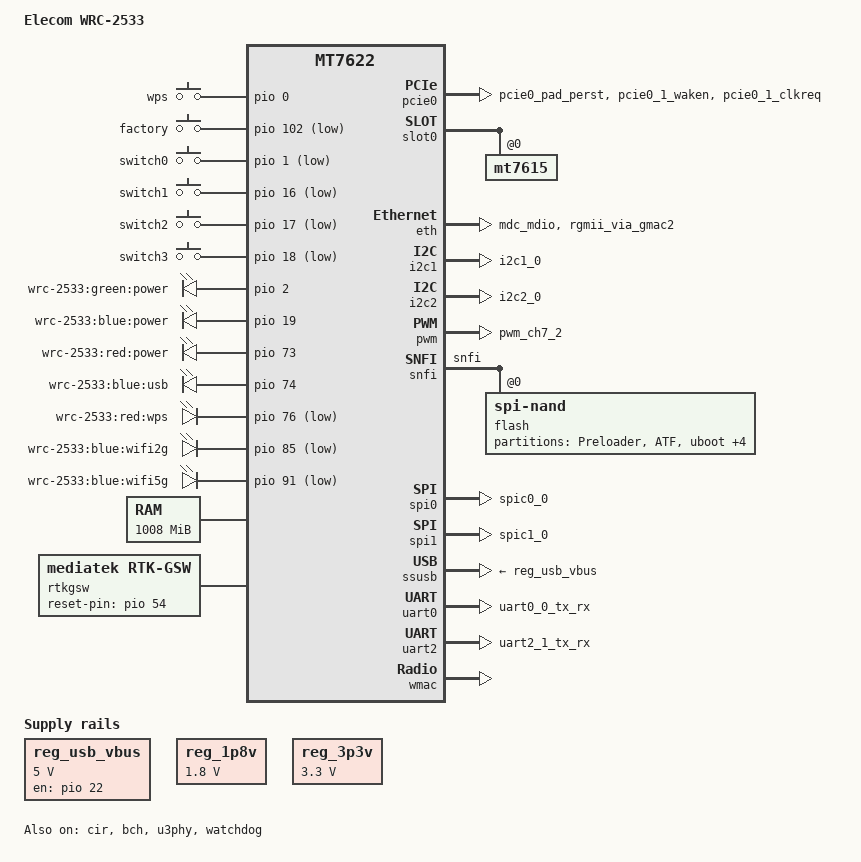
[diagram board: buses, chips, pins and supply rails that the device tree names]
// SPDX-License-Identifier: (GPL-2.0-only OR MIT)
/*
 * Copyright (c) 2017 MediaTek Inc.
 * Author: Ming Huang <ming.huang@mediatek.com>
 *	   Sean Wang <sean.wang@mediatek.com>
 */

/dts-v1/;
#include <dt-bindings/input/input.h>
#include <dt-bindings/gpio/gpio.h>

#include "mt7622.dtsi"
#include "mt6380.dtsi"

/ {
	model = "Elecom WRC-2533";
	compatible = "elecom,wrc-2533gent", "mediatek,mt7622";

	aliases {
		led-boot = &led_power;
		led-failsafe = &led_power;
		led-running = &led_power;
		led-upgrade = &led_power;
		serial0 = &uart0;
	};

	chosen {
		stdout-path = "serial0:115200n8";
		bootargs = "earlycon=uart8250,mmio32,0x11002000 swiotlb=512 console=ttyS0,115200n8";
	};

	cpus {
		cpu@0 {
			proc-supply = <&mt6380_vcpu_reg>;
			sram-supply = <&mt6380_vm_reg>;
		};

		cpu@1 {
			proc-supply = <&mt6380_vcpu_reg>;
			sram-supply = <&mt6380_vm_reg>;
		};
	};

	gpio-keys {
		compatible = "gpio-keys";
		poll-interval = <100>;

		wps {
			label = "wps";
			linux,code = <KEY_WPS_BUTTON>;
			gpios = <&pio 0 GPIO_ACTIVE_HIGH>;
		};

		factory {
			label = "factory";
			linux,code = <KEY_WPS_BUTTON>;
			gpios = <&pio 102 GPIO_ACTIVE_LOW>;
		};

		switch0 {
			label = "switch0";
			gpios = <&pio 1 GPIO_ACTIVE_LOW>;
			linux,code = <BTN_0>;
			linux,input-type = <EV_SW>;
		};

		switch1 {
			label = "switch1";
			gpios = <&pio 16 GPIO_ACTIVE_LOW>;
			linux,code = <BTN_1>;
			linux,input-type = <EV_SW>;
		};

		switch2 {
			label = "switch2";
			gpios = <&pio 17 GPIO_ACTIVE_LOW>;
			linux,code = <BTN_2>;
			linux,input-type = <EV_SW>;
		};

		switch3 {
			label = "switch3";
			gpios = <&pio 18 GPIO_ACTIVE_LOW>;
			linux,code = <BTN_3>;
			linux,input-type = <EV_SW>;
		};
	};

	leds {
		compatible = "gpio-leds";

		led_power: power_g {
			label = "wrc-2533:green:power";
			gpios = <&pio 2 GPIO_ACTIVE_HIGH>;
		};

		power_b {
			label = "wrc-2533:blue:power";
			gpios = <&pio 19 GPIO_ACTIVE_HIGH>;
		};

		power_r {
			label = "wrc-2533:red:power";
			gpios = <&pio 73 GPIO_ACTIVE_HIGH>;
		};

		usb {
			label = "wrc-2533:blue:usb";
			gpios = <&pio 74 GPIO_ACTIVE_HIGH>;
		};

		wps {
			label = "wrc-2533:red:wps";
			gpios = <&pio 76 GPIO_ACTIVE_LOW>;
		};

		wifi2 {
			label = "wrc-2533:blue:wifi2g";
			gpios = <&pio 85 GPIO_ACTIVE_LOW>;
		};

		wifi5 {
			label = "wrc-2533:blue:wifi5g";
			gpios = <&pio 91 GPIO_ACTIVE_LOW>;
		};
	};

	reg_usb_vbus: regulator {
		compatible = "regulator-fixed";
		regulator-name = "usb_vbus";
		regulator-min-microvolt = <5000000>;
		regulator-max-microvolt = <5000000>;
		gpio = <&pio 22 GPIO_ACTIVE_LOW>;
		enable-active-high;
	};

	memory {
		reg = <0 0x40000000 0 0x3F000000>;
	};

	reg_1p8v: regulator-1p8v {
		compatible = "regulator-fixed";
		regulator-name = "fixed-1.8V";
		regulator-min-microvolt = <1800000>;
		regulator-max-microvolt = <1800000>;
		regulator-always-on;
	};

	reg_3p3v: regulator-3p3v {
		compatible = "regulator-fixed";
		regulator-name = "fixed-3.3V";
		regulator-min-microvolt = <3300000>;
		regulator-max-microvolt = <3300000>;
		regulator-boot-on;
		regulator-always-on;
	};

	rtkgsw: rtkgsw@0 {
		compatible = "mediatek,rtk-gsw";
		mediatek,ethsys = <&ethsys>;
		mediatek,mdio = <&mdio>;
		mediatek,reset-pin = <&pio 54 0>;
		status = "okay";
	};
};

&pcie0 {
	pinctrl-names = "default";
	pinctrl-0 = <&pcie0_pins>;
	status = "okay";
};

&slot0 {
	mt7615@0,0 {
		reg = <0x0000 0 0 0 0>;
		mediatek,mtd-eeprom = <&factory 0x05000>;
	};
};

&pio {
	/* eMMC is shared pin with parallel NAND */
	emmc_pins_default: emmc-pins-default {
		mux {
			function = "emmc", "emmc_rst";
			groups = "emmc";
		};

		/* "NDL0","NDL1","NDL2","NDL3","NDL4","NDL5","NDL6","NDL7",
		 * "NRB","NCLE" pins are used as DAT0,DAT1,DAT2,DAT3,DAT4,
		 * DAT5,DAT6,DAT7,CMD,CLK for eMMC respectively
		 */
		conf-cmd-dat {
			pins = "NDL0", "NDL1", "NDL2",
			       "NDL3", "NDL4", "NDL5",
			       "NDL6", "NDL7", "NRB";
			input-enable;
			bias-pull-up;
		};

		conf-clk {
			pins = "NCLE";
			bias-pull-down;
		};
	};

	emmc_pins_uhs: emmc-pins-uhs {
		mux {
			function = "emmc";
			groups = "emmc";
		};

		conf-cmd-dat {
			pins = "NDL0", "NDL1", "NDL2",
			       "NDL3", "NDL4", "NDL5",
			       "NDL6", "NDL7", "NRB";
			input-enable;
			drive-strength = <4>;
			bias-pull-up;
		};

		conf-clk {
			pins = "NCLE";
			drive-strength = <4>;
			bias-pull-down;
		};
	};

	eth_pins: eth-pins {
		mux {
			function = "eth";
			groups = "mdc_mdio", "rgmii_via_gmac2";
		};
	};

	i2c1_pins: i2c1-pins {
		mux {
			function = "i2c";
			groups =  "i2c1_0";
		};
	};

	i2c2_pins: i2c2-pins {
		mux {
			function = "i2c";
			groups =  "i2c2_0";
		};
	};

	i2s1_pins: i2s1-pins {
		mux {
			function = "i2s";
			groups =  "i2s_out_mclk_bclk_ws",
				  "i2s1_in_data",
				  "i2s1_out_data";
		};

		conf {
			pins = "I2S1_IN", "I2S1_OUT", "I2S_BCLK",
			       "I2S_WS", "I2S_MCLK";
			drive-strength = <12>;
			bias-pull-down;
		};
	};

	irrx_pins: irrx-pins {
		mux {
			function = "ir";
			groups =  "ir_1_rx";
		};
	};

	irtx_pins: irtx-pins {
		mux {
			function = "ir";
			groups =  "ir_1_tx";
		};
	};

	/* Parallel nand is shared pin with eMMC */
	parallel_nand_pins: parallel-nand-pins {
		mux {
			function = "flash";
			groups = "par_nand";
		};
	};

	pcie0_pins: pcie0-pins {
		mux {
			function = "pcie";
			groups = "pcie0_pad_perst",
				 "pcie0_1_waken",
				 "pcie0_1_clkreq";
		};
	};

	pcie1_pins: pcie1-pins {
		mux {
			function = "pcie";
			groups = "pcie1_pad_perst",
				 "pcie1_0_waken",
				 "pcie1_0_clkreq";
		};
	};

	pmic_bus_pins: pmic-bus-pins {
		mux {
			function = "pmic";
			groups = "pmic_bus";
		};
	};

	pwm7_pins: pwm1-2-pins {
		mux {
			function = "pwm";
			groups = "pwm_ch7_2";
		};
	};

	wled_pins: wled-pins {
		mux {
			function = "led";
			groups = "wled";
		};
	};

	sd0_pins_default: sd0-pins-default {
		mux {
			function = "sd";
			groups = "sd_0";
		};

		/* "I2S2_OUT, "I2S4_IN"", "I2S3_IN", "I2S2_IN",
		 *  "I2S4_OUT", "I2S3_OUT" are used as DAT0, DAT1,
		 *  DAT2, DAT3, CMD, CLK for SD respectively.
		 */
		conf-cmd-data {
			pins = "I2S2_OUT", "I2S4_IN", "I2S3_IN",
			       "I2S2_IN","I2S4_OUT";
			input-enable;
			drive-strength = <8>;
			bias-pull-up;
		};
		conf-clk {
			pins = "I2S3_OUT";
			drive-strength = <12>;
			bias-pull-down;
		};
		conf-cd {
			pins = "TXD3";
			bias-pull-up;
		};
	};

	sd0_pins_uhs: sd0-pins-uhs {
		mux {
			function = "sd";
			groups = "sd_0";
		};

		conf-cmd-data {
			pins = "I2S2_OUT", "I2S4_IN", "I2S3_IN",
			       "I2S2_IN","I2S4_OUT";
			input-enable;
			bias-pull-up;
		};

		conf-clk {
			pins = "I2S3_OUT";
			bias-pull-down;
		};
	};

	/* Serial NAND is shared pin with SPI-NOR */
	serial_nand_pins: serial-nand-pins {
		mux {
			function = "flash";
			groups = "snfi";
		};
	};

	spic0_pins: spic0-pins {
		mux {
			function = "spi";
			groups = "spic0_0";
		};
	};

	spic1_pins: spic1-pins {
		mux {
			function = "spi";
			groups = "spic1_0";
		};
	};

	/* SPI-NOR is shared pin with serial NAND */
	spi_nor_pins: spi-nor-pins {
		mux {
			function = "flash";
			groups = "spi_nor";
		};
	};

	/* serial NAND is shared pin with SPI-NOR */
	serial_nand_pins: serial-nand-pins {
		mux {
			function = "flash";
			groups = "snfi";
		};
	};

	uart0_pins: uart0-pins {
		mux {
			function = "uart";
			groups = "uart0_0_tx_rx" ;
		};
	};

	uart2_pins: uart2-pins {
		mux {
			function = "uart";
			groups = "uart2_1_tx_rx" ;
		};
	};

	watchdog_pins: watchdog-pins {
		mux {
			function = "watchdog";
			groups = "watchdog";
		};
	};
};

&btif {
	status = "disabled";
};

&cir {
	pinctrl-names = "default";
	pinctrl-0 = <&irrx_pins>;
	status = "okay";
};

&eth {
	status = "okay";
	pinctrl-names = "default";
	pinctrl-0 = <&eth_pins>;
	gmac0: mac@0 {
		compatible = "mediatek,eth-mac";
		reg = <0>;
		phy-mode = "sgmii";
		fixed-link {
			speed = <1000>;
			full-duplex;
			pause;
		};
	};

	gmac1: mac@1 {
		compatible = "mediatek,eth-mac";
		reg = <1>;
		phy-mode = "rgmii";
		fixed-link {
			speed = <1000>;
			full-duplex;
			pause;
		};
	};

	mdio: mdio-bus {
		#address-cells = <1>;
		#size-cells = <0>;
	};
};

&i2c1 {
	pinctrl-names = "default";
	pinctrl-0 = <&i2c1_pins>;
	status = "okay";
};

&i2c2 {
	pinctrl-names = "default";
	pinctrl-0 = <&i2c2_pins>;
	status = "okay";
};

&pwm {
	pinctrl-names = "default";
	pinctrl-0 = <&pwm7_pins>;
	status = "okay";
};

&pwrap {
	pinctrl-names = "default";
	pinctrl-0 = <&pmic_bus_pins>;

	status = "okay";
};

&bch {
	status = "okay";
};

&snfi {
	pinctrl-names = "default";
	pinctrl-0 = <&serial_nand_pins>;
	status = "okay";
	flash@0 {
		compatible = "spi-nand";
		reg = <0>;
		spi-tx-bus-width = <4>;
		spi-rx-bus-width = <4>;
		nand-ecc-engine = <&snfi>;

		partitions {
			compatible = "fixed-partitions";
			#address-cells = <1>;
			#size-cells = <1>;

			partition@0 {
				label = "Preloader";
				reg = <0x00000 0x0080000>;
				read-only;
			};

			partition@80000 {
				label = "ATF";
				reg = <0x80000 0x0040000>;
				read-only;
			};

			partition@c0000 {
				label = "uboot";
				reg = <0xc0000 0x0080000>;
				read-only;
			};

			partition@140000 {
				label = "uboot-env";
				reg = <0x140000 0x0080000>;
				read-only;
			};

			factory: partition@1c0000 {
				label = "factory";
				reg = <0x1c0000 0x0040000>;
				read-only;
			};

			partition@200000 {
				label = "firmware";
				reg = <0x200000 0x2000000>;
			};

			partition@2200000 {
				label = "reserved";
				reg = <0x2200000 0x4000000>;
			};
		};
	};
};

&spi0 {
	pinctrl-names = "default";
	pinctrl-0 = <&spic0_pins>;
	status = "okay";
};

&spi1 {
	pinctrl-names = "default";
	pinctrl-0 = <&spic1_pins>;
	status = "okay";
};

&ssusb {
	vusb33-supply = <&reg_3p3v>;
	vbus-supply = <&reg_usb_vbus>;
	status = "okay";
};

&u3phy {
	status = "okay";
};

&uart0 {
	pinctrl-names = "default";
	pinctrl-0 = <&uart0_pins>;
	status = "okay";
};

&uart2 {
	pinctrl-names = "default";
	pinctrl-0 = <&uart2_pins>;
	status = "okay";
};

&watchdog {
	pinctrl-names = "default";
	pinctrl-0 = <&watchdog_pins>;
	status = "okay";
};

&wmac {
	mediatek,mtd-eeprom = <&factory 0x0000>;
	status = "okay";
};
